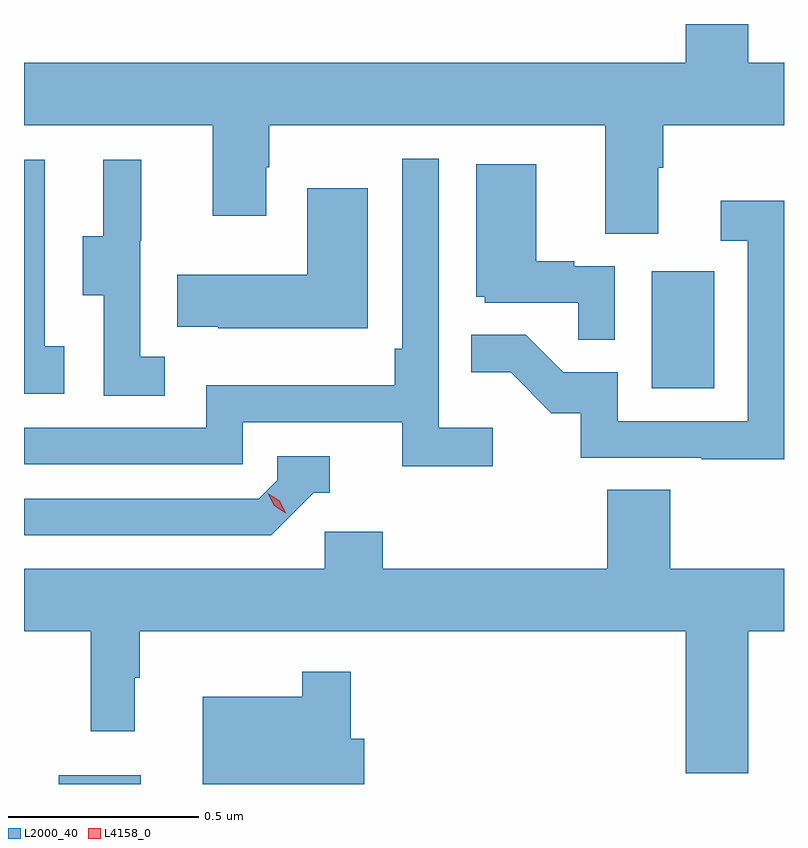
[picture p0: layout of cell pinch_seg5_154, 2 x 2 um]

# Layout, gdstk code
import gdstk
lib = gdstk.Library(unit=1e-6, precision=1e-09)
def R(c, l, rs):  # rectangles x0, y0, x1, y1
    for r in rs: c.add(gdstk.rectangle(r[:2], r[2:], *l))
def P(c, l, *ps):  # polygons
    for p in ps: c.add(gdstk.Polygon(p, *l))
L2000_40 = (2000, 40)
L4158_0 = (4158, 0)

pinch_seg5_154 = lib.new_cell('pinch_seg5_154')
R(pinch_seg5_154, L2000_40, [(1110.41,876.338,1110.625,876.361), (1111.97,877.38,1112.134,877.687)])
P(pinch_seg5_154, L2000_40, [(1111.987,877.96),(1112,877.96),(1112,878.072),(1112.318,878.072),(1112.318,878.236),(1112.224,878.236),(1112.224,878.338),(1112.06,878.338),(1112.06,878.236),(1110.318,878.236),(1110.318,878.072),(1110.815,878.072),(1110.815,877.833),(1110.955,877.833),(1110.955,877.961),(1110.963,877.961),(1110.963,878.072),(1111.847,878.072),(1111.847,877.786),(1111.987,877.786)],
  [(1111.552,877.276),(1111.41,877.276),(1111.41,877.984),(1111.314,877.984),(1111.314,877.483),(1111.294,877.483),(1111.294,877.387),(1110.798,877.387),(1110.798,877.275),(1110.318,877.275),(1110.318,877.179),(1110.894,877.179),(1110.894,877.29),(1111.313,877.29),(1111.313,877.174),(1111.552,877.174)],
  [(1110.688,877.463),(1110.624,877.463),(1110.624,877.767),(1110.626,877.767),(1110.626,877.981),(1110.527,877.981),(1110.527,877.779),(1110.473,877.779),(1110.473,877.624),(1110.528,877.624),(1110.528,877.36),(1110.688,877.36)],
  [(1110.424,877.49),(1110.372,877.49),(1110.372,877.981),(1110.318,877.981),(1110.318,877.365),(1110.424,877.365)],
  [(1111.872,877.701),(1111.766,877.701),(1111.766,877.714),(1111.666,877.714),(1111.666,877.969),(1111.508,877.969),(1111.508,877.62),(1111.53,877.62),(1111.53,877.605),(1111.777,877.605),(1111.777,877.507),(1111.872,877.507)],
  [(1111.222,877.906),(1111.064,877.906),(1111.064,877.678),(1110.721,877.678),(1110.721,877.541),(1110.829,877.541),(1110.829,877.538),(1111.222,877.538)],
  [(1112.318,877.873),(1112.151,877.873),(1112.151,877.767),(1112.223,877.767),(1112.223,877.293),(1111.881,877.293),(1111.881,877.422),(1111.737,877.422),(1111.639,877.52),(1111.495,877.52),(1111.495,877.421),(1111.599,877.421),(1111.706,877.314),(1111.783,877.314),(1111.783,877.197),(1112.101,877.197),(1112.101,877.192),(1112.318,877.192)],
  [(1111.08,877.104),(1111.123,877.104),(1111.123,877.2),(1110.984,877.2),(1110.984,877.137),(1110.936,877.089),(1110.318,877.089),(1110.318,876.993),(1110.969,876.993)],
  [(1112.224,876.74),(1112.318,876.74),(1112.318,876.904),(1112.018,876.904),(1112.018,877.112),(1111.853,877.112),(1111.853,876.904),(1111.262,876.904),(1111.262,877.002),(1111.11,877.002),(1111.11,876.904),(1110.318,876.904),(1110.318,876.74),(1110.493,876.74),(1110.493,876.477),(1110.61,876.477),(1110.61,876.617),(1110.622,876.617),(1110.622,876.74),(1112.06,876.74),(1112.06,876.366),(1112.224,876.366)],
  [(1111.213,876.457),(1111.178,876.457),(1111.178,876.634),(1111.05,876.634),(1111.05,876.568),(1110.788,876.568),(1110.788,876.338),(1111.213,876.338)])
P(pinch_seg5_154, L4158_0, [(1111.007,877.05),(1110.976,877.07),(1110.959,877.103),(1110.959,877.103),(1110.96,877.103),(1110.991,877.083),(1111.007,877.05),(1111.007,877.05)])

lib.write_gds('pinch_seg5_154.gds')
